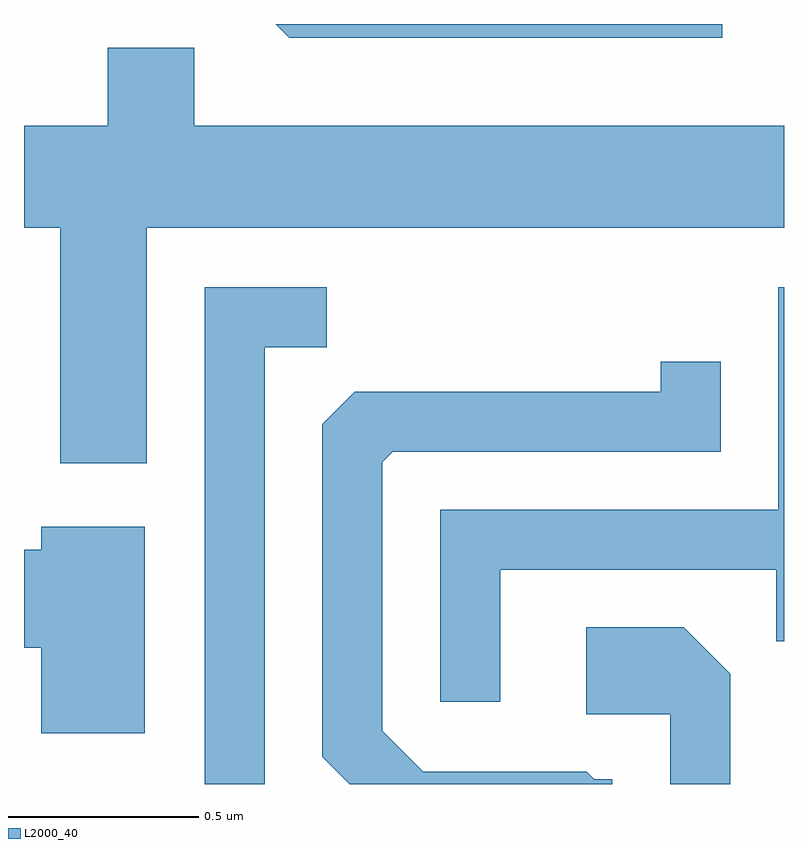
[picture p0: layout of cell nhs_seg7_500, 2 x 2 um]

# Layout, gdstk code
import gdstk
lib = gdstk.Library(unit=1e-6, precision=1e-09)
def P(c, l, *ps):  # polygons
    for p in ps: c.add(gdstk.Polygon(p, *l))
L2000_40 = (2000, 40)

nhs_seg7_500 = lib.new_cell('nhs_seg7_500')
P(nhs_seg7_500, L2000_40, [(190.448,1759.252),(189.273,1759.252),(189.309,1759.216),(190.448,1759.216)],
  [(188.934,1758.716),(190.611,1758.716),(190.611,1758.984),(189.059,1758.984),(189.059,1759.189),(188.831,1759.189),(188.831,1758.984),(188.611,1758.984),(188.611,1758.716),(188.706,1758.716),(188.706,1758.096),(188.934,1758.096)],
  [(189.244,1758.401),(189.408,1758.401),(189.408,1758.559),(189.086,1758.559),(189.086,1757.252),(189.244,1757.252)],
  [(189.864,1757.816),(190.591,1757.816),(190.591,1757.628),(190.611,1757.628),(190.611,1758.559),(190.596,1758.559),(190.596,1757.974),(189.706,1757.974),(189.706,1757.468),(189.864,1757.468)],
  [(190.159,1757.264),(190.112,1757.264),(190.092,1757.284),(189.662,1757.284),(189.554,1757.392),(189.554,1758.099),(189.582,1758.126),(190.444,1758.126),(190.444,1758.363),(190.286,1758.363),(190.286,1758.284),(189.482,1758.284),(189.396,1758.199),(189.396,1757.324),(189.468,1757.252),(190.159,1757.252)],
  [(188.929,1757.929),(188.656,1757.929),(188.656,1757.869),(188.611,1757.869),(188.611,1757.611),(188.656,1757.611),(188.656,1757.386),(188.929,1757.386)],
  [(190.469,1757.542),(190.347,1757.664),(190.091,1757.664),(190.091,1757.436),(190.311,1757.436),(190.311,1757.252),(190.469,1757.252)])

lib.write_gds('nhs_seg7_500.gds')
